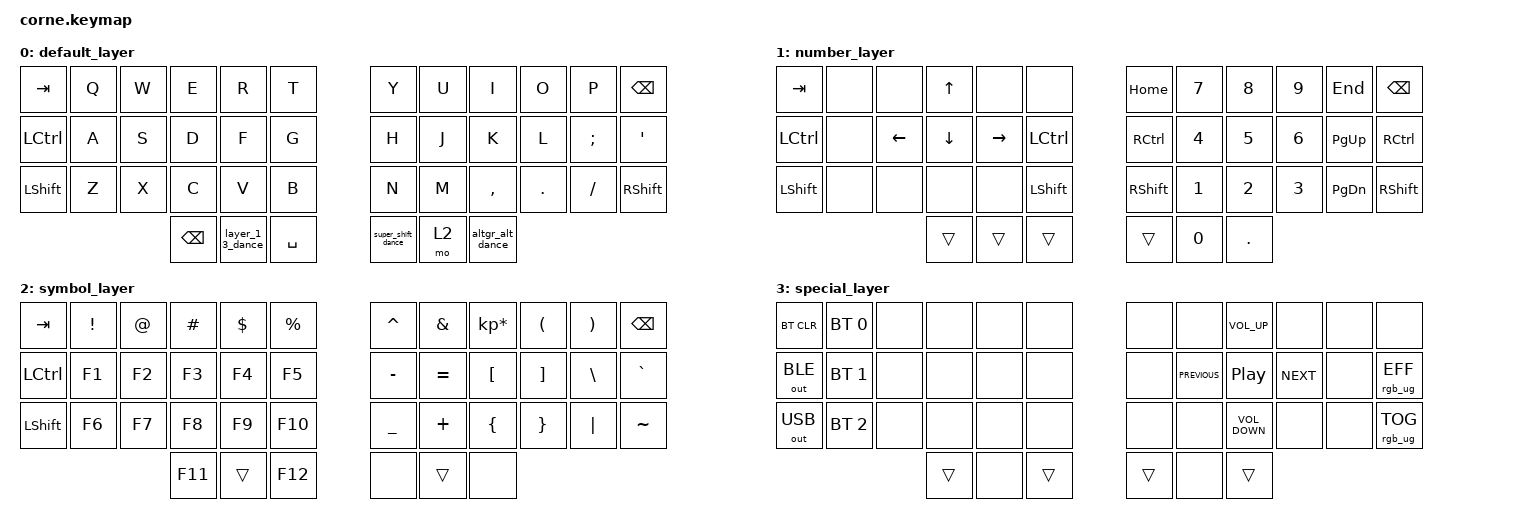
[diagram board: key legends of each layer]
/*
 * Copyright (c) 2020 The ZMK Contributors
 *
 * SPDX-License-Identifier: MIT
 */

#include <behaviors.dtsi>
#include <dt-bindings/zmk/bt.h>
#include <dt-bindings/zmk/keys.h>
#include <dt-bindings/zmk/outputs.h>
#include <dt-bindings/zmk/rgb.h>

&led_strip {
    chain-length = <27>;// 6 underglow, 21 backlight
};

/ {
    combos {
        compatible = "zmk,combos";

        caps_word {
            bindings = <&caps_word>;
            key-positions = <17 18>;
        };

        enter {
            bindings = <&kp ENTER>;
            key-positions = <19 20>;
        };

        esc {
            bindings = <&kp ESCAPE>;
            key-positions = <15 16>;
        };

        terminal {
            bindings = <&kp LG(ENTER)>;
            key-positions = <39 19 20>;
        };
    };

    behaviors {
        super_shift_dance: super_shift_dance {
            compatible = "zmk,behavior-tap-dance";
            label = "SUPER_SHIFT_DANCE";
            #binding-cells = <0>;
            bindings = <&kp LEFT_GUI>, <&kp LS(LGUI)>;

            tapping-term-ms = <250>;
        };

        altgr_alt_dance: altgr_alt_dance {
            compatible = "zmk,behavior-tap-dance";
            label = "ALTGR_ALT_DANCE";
            #binding-cells = <0>;
            bindings = <&kp RIGHT_ALT>, <&kp LALT>;

            tapping-term-ms = <250>;
        };

        layer_1_3_dance: layer_1_3_dance {
            compatible = "zmk,behavior-tap-dance";
            label = "LAYER_1_3_DANCE";
            #binding-cells = <0>;
            bindings = <&mo 1>, <&mo 3>;
        };
    };

    keymap {
        compatible = "zmk,keymap";

        default_layer {
            // -----------------------------------------------------------------------------------------
            // |  TAB |  Q  |  W  |  E  |  R  |  T  |---|  Y  |  U  |  I  |  O  |  P  | BKSP |
            // | CTRL |  A  |  S  |  D  |  F  |  G  |---|  H  |  J  |  K  |  L  |  ;  |  '   |
            // | SHFT |  Z  |  X  |  C  |  V  |  B  |---|  N  |  M  |  ,  |  .  |  /  | SHFT |
            //                  |ALT/ESC| NUM |MOD/SPC|-|MOD/ENT| SYM |ALTgr/BKSP|

            bindings = <
&kp TAB    &kp Q  &kp W  &kp E     &kp R             &kp T        &kp Y               &kp U  &kp I             &kp O    &kp P     &kp BSPC
&kp LCTRL  &kp A  &kp S  &kp D     &kp F             &kp G        &kp H               &kp J  &kp K             &kp L    &kp SEMI  &kp SQT
&kp LSHFT  &kp Z  &kp X  &kp C     &kp V             &kp B        &kp N               &kp M  &kp COMMA         &kp DOT  &kp FSLH  &kp RSHFT
                         &kp BSPC  &layer_1_3_dance  &kp SPACE    &super_shift_dance  &mo 2  &altgr_alt_dance
            >;
        };

        number_layer {
            // -----------------------------------------------------------------------------------------
            // | BTCLR| BT0 |    | UP |    |   |---|HOM| 7 | 8 | 9 |END|  BKSP  |
            // |BLEout| BT1 |LEFT|DOWN|RIHT|CTL|---|CTL| 4 | 5 | 6 |PUP| RGBeff |
            // |USBout| BT2 |    |    |    |SHT|---|SHT| 1 | 2 | 3 |PDW| RGBtog |
            //                    |    |    |MOD|-|MOD| 0 | . |

            bindings = <
&kp TAB     &none  &none     &kp UP    &none      &none        &kp HOME   &kp N7  &kp N8   &kp N9  &kp END    &kp BACKSPACE
&kp LCTRL   &none  &kp LEFT  &kp DOWN  &kp RIGHT  &kp LCTRL    &kp RCTRL  &kp N4  &kp N5   &kp N6  &kp PG_UP  &kp RCTRL
&kp LSHIFT  &none  &none     &none     &none      &kp LSHFT    &kp RSHFT  &kp N1  &kp N2   &kp N3  &kp PG_DN  &kp RSHIFT
                             &trans    &trans     &trans       &trans     &kp N0  &kp DOT
            >;
        };

        symbol_layer {
            // -----------------------------------------------------------------------------------------
            // |  TAB |  !  |  @  |  #  |  $  |  %  |---|  ^  |  &  |  *  |  (  |  )  |  DEL |
            // | CTRL |  F1 |  F2 |  F3 |  F4 |  F5 |---|  -  |  =  |  [  |  ]  |  \  |  `   |
            // | SHFT |  F6 |  F7 |  F8 |  F9 | F10 |---|  _  |  +  |  {  |  }  | "|" |  ~   |
            //                    | F11 |     | F12 |---|     |     |     |

            bindings = <
&kp TAB    &kp EXCL  &kp AT  &kp HASH  &kp DLLR  &kp PRCNT    &kp CARET  &kp AMPS   &kp KP_MULTIPLY  &kp LPAR  &kp RPAR  &kp BACKSPACE
&kp LCTRL  &kp F1    &kp F2  &kp F3    &kp F4    &kp F5       &kp MINUS  &kp EQUAL  &kp LBKT         &kp RBKT  &kp BSLH  &kp GRAVE
&kp LSHFT  &kp F6    &kp F7  &kp F8    &kp F9    &kp F10      &kp UNDER  &kp PLUS   &kp LBRC         &kp RBRC  &kp PIPE  &kp TILDE
                             &kp F11   &trans    &kp F12      &none      &trans     &none
            >;
        };

        special_layer {
            bindings = <
&bt BT_CLR    &bt BT_SEL 0  &none  &none   &none  &none     &none   &none           &kp C_VOLUME_UP    &none       &none  &none
&out OUT_BLE  &bt BT_SEL 1  &none  &none   &none  &none     &none   &kp C_PREVIOUS  &kp C_PLAY_PAUSE   &kp C_NEXT  &none  &rgb_ug RGB_EFF
&out OUT_USB  &bt BT_SEL 2  &none  &none   &none  &none     &none   &none           &kp C_VOLUME_DOWN  &none       &none  &rgb_ug RGB_TOG
                                   &trans  &none  &trans    &trans  &none           &trans
            >;
        };
    };
};
